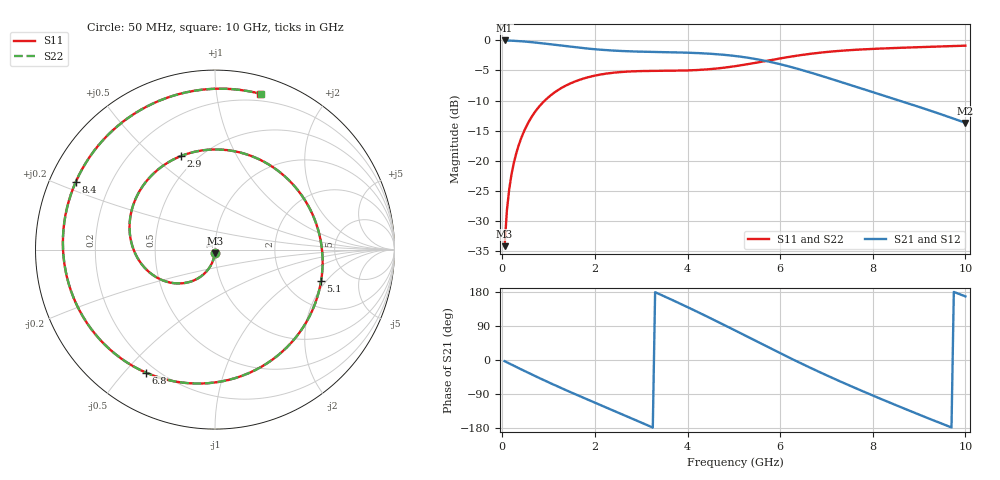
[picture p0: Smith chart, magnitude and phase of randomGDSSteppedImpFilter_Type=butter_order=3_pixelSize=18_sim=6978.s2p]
! freq	dB(S11)	phase(S11)	dB(S12)	phase(S12)
!  dB(S21)	phase(S21)	dB(S22)	phase(S22)
!S-par simulation data
#  GHz  S  DB  R 50
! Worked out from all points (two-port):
!   200 points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, 50 MHz to 10 GHz, reference 50 ohm
!   highest |S21| = -0.01 dB at 50 MHz (marker M1); lowest = -13.7 dB at 10 GHz (marker M2)
!   |S21| within 3 dB of the highest: start of sweep to 5.405 GHz
!   lowest |S11| = -34.2 dB at 50 MHz (marker M3), VSWR 1.04, Z = 49.9 - j1.94 ohm
!   |S11| at or under -10 dB: start of sweep to 918.9 MHz
!   |S22| runs from -34.2 to -0.9 dB; largest |S21 - S12| = 0
!   S11 on the Smith chart (normalised r, x): 50 MHz: 1.00, -0.04; 2.9 GHz: 0.41, +0.62; 5.1 GHz: 3.13, -1.77; 6.8 GHz: 0.16, -0.57; 8.4 GHz: 0.08, +0.23; 10 GHz: 0.14, +1.32
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0.05  -34.23 -92.9  -0.01 -3.1  -0.01 -3.1  -34.23 -92.9
0.1  -28.22 -96.2  -0.02 -6.1  -0.02 -6.1  -28.22 -96.2
0.2  -22.24 -102.6  -0.05 -12.2  -0.05 -12.2  -22.24 -102.6
0.5  -14.60 -120.6  -0.20 -30.1  -0.20 -30.1  -14.60 -120.6
1.1  -8.81 -155.1  -0.70 -64.5  -0.70 -64.5  -8.81 -155.1
1.75  -6.35 169.9  -1.28 -99.5  -1.28 -99.5  -6.35 169.9
2.3  -5.46 141.2  -1.64 -128.1  -1.64 -128.1  -5.46 141.3
2.9  -5.12 109.9  -1.85 -159.5  -1.85 -159.5  -5.12 110.0
3.4  -5.06 83.1  -1.94 173.5  -1.94 173.5  -5.06 83.2
3.85  -5.02 58.0  -2.01 148.2  -2.01 148.2  -5.02 58.1
4.3  -4.88 31.9  -2.13 122.0  -2.13 122.0  -4.88 32.1
5.05  -4.26 -13.5  -2.61 76.5  -2.61 76.5  -4.26 -13.4
5.1  -4.20 -16.6  -2.66 73.4  -2.66 73.4  -4.20 -16.5
5.9  -3.13 -65.8  -3.77 24.1  -3.77 24.1  -3.13 -65.8
6.3  -2.61 -90.0  -4.56 0.0  -4.56 0.0  -2.61 -90.0
6.7  -2.18 -113.6  -5.45 -23.3  -5.45 -23.3  -2.18 -113.6
6.8  -2.09 -119.3  -5.68 -29.0  -5.68 -29.0  -2.09 -119.4
7.6  -1.57 -163.9  -7.62 -72.8  -7.62 -72.8  -1.57 -164.0
8.35  -1.30 156.6  -9.46 -111.6  -9.46 -111.6  -1.30 156.4
8.4  -1.28 154.0  -9.58 -114.1  -9.58 -114.1  -1.28 153.8
9.25  -1.06 110.6  -11.70 -156.3  -11.70 -156.3  -1.06 110.5
10  -0.87 73.8  -13.71 167.9  -13.71 167.9  -0.87 73.7
